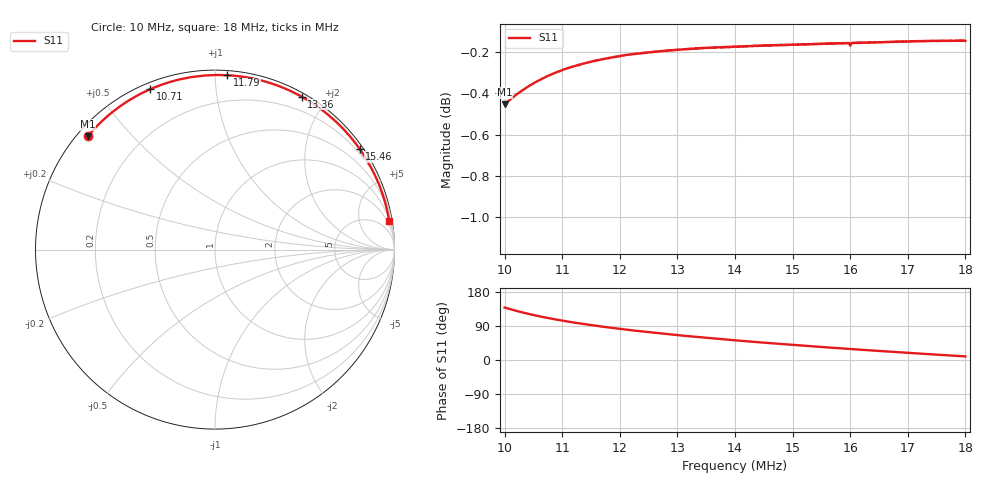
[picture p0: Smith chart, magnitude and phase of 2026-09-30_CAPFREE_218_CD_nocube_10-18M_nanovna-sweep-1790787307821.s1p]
! NanoVNA Web complex sweep
! Processing: unaveraged complex samples; linear segment spacing; no smoothing
# Hz S RI R 50
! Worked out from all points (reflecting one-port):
!   1010 points, 10 MHz to 18 MHz, reference 50 ohm
!   lowest |S11| = -0.5 dB at 10 MHz (marker M1), VSWR 38.43, Z = 1.49 + j19 ohm
!   phase of S11 starts at 138 deg and turns -129 deg over the sweep
!   S11 on the Smith chart (normalised r, x): 10 MHz: 0.03, +0.38; 10.71 MHz: 0.03, +0.67; 11.79 MHz: 0.03, +1.07; 13.36 MHz: 0.04, +1.72; 15.46 MHz: 0.10, +3.18; 18 MHz: 1, +12
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1e7  -0.7098 0.6303
1.003964e7  -0.6904 0.653
1.019822e7  -0.6112 0.7327
1.034888e7  -0.536 0.7934
1.052331e7  -0.4504 0.8487
1.071361e7  -0.3602 0.894
1.085633e7  -0.2956 0.9194
1.100698e7  -0.2299 0.9398
1.118142e7  -0.1576 0.9564
1.137172e7  -0.083 0.9675
1.156994e7  -0.00998 0.9724
1.179195e7  0.0667 0.9717
1.200604e7  0.1357 0.9656
1.223598e7  0.2052 0.9544
1.249764e7  0.2783 0.9367
1.275136e7  0.3439 0.9155
1.300509e7  0.4049 0.8907
1.33619e7  0.4833 0.852
1.368698e7  0.5477 0.8127
1.400414e7  0.605 0.7715
1.449574e7  0.6835 0.7036
1.50032e7  0.7527 0.6295
1.545515e7  0.8056 0.5612
1.600225e7  0.8578 0.4757
1.647799e7  0.8967 0.4018
1.700131e7  0.9299 0.3192
1.74929e7  0.9534 0.2415
1.800036e7  0.97 0.1621
